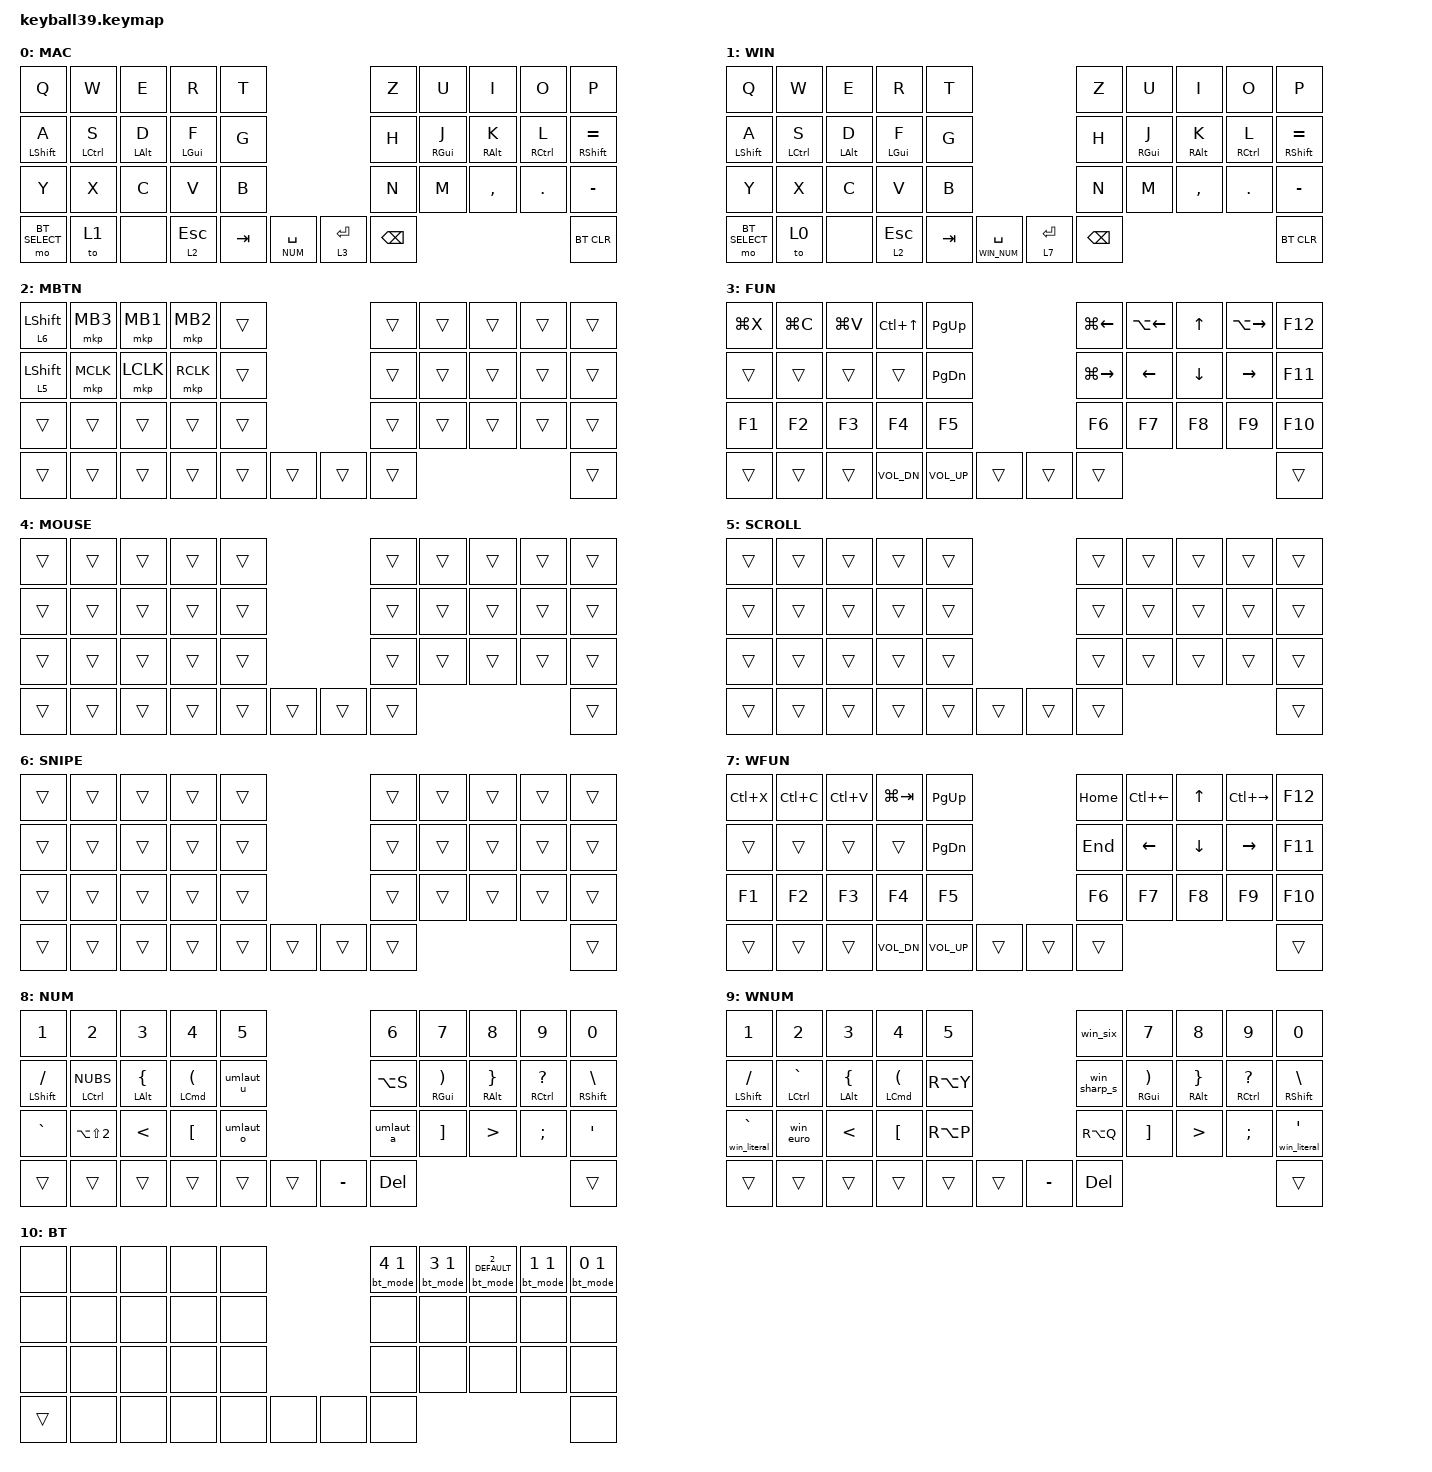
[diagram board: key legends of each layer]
#define DEFAULT 0
#define NUM     8
#define WIN_NUM 9
#define BT_SELECT 10
#define FUN     3
#define MOUSE   4
#define SCROLL  5
#define SNIPE   6

#include <behaviors/mouse_keys.dtsi>
#include <dt-bindings/zmk/mouse.h>
#include <behaviors.dtsi>
#include <dt-bindings/zmk/bt.h>
#include <dt-bindings/zmk/keys.h>
#include <dt-bindings/zmk/pointing.h>

&lt {
    tapping-term-ms = <240>;
    flavor = "balanced";
    quick-tap-ms = <150>;
};

&mt {
    tapping-term-ms = <200>;
    flavor = "tap-preferred";
    quick-tap-ms = <150>;
};

&caps_word { continue-list = <UNDERSCORE MINUS>; };

/ {
    // custom shift using mod-morph 

    behaviors {
        // Shift+6 is a dead key on Windows US International. Complete it with Space.
        win_six: win_six {
            compatible = "zmk,behavior-mod-morph";
            #binding-cells = <0>;
            bindings = <&kp NUMBER_6>, <&win_literal CARET>;
            mods = <(MOD_LSFT|MOD_RSFT)>;
        };

        // Match macOS Option+S (ß) and Option+Shift+S (Í).
        win_sharp_s: win_sharp_s {
            compatible = "zmk,behavior-mod-morph";
            #binding-cells = <0>;
            bindings = <&kp RA(S)>, <&kp RA(LS(I))>;
            mods = <(MOD_LSFT|MOD_RSFT)>;
        };

        // macOS Option+Shift+2 always emits €, including with a held Shift.
        win_euro: win_euro {
            compatible = "zmk,behavior-mod-morph";
            #binding-cells = <0>;
            bindings = <&kp RA(NUMBER_5)>, <&kp RA(NUMBER_5)>;
            mods = <(MOD_LSFT|MOD_RSFT)>;
        };

        // Preserve the existing home-row Ctrl hold while tapping a literal dead key.
        win_literal_mt: win_literal_mt {
            compatible = "zmk,behavior-hold-tap";
            #binding-cells = <2>;
            tapping-term-ms = <200>;
            flavor = "tap-preferred";
            quick-tap-ms = <150>;
            bindings = <&kp>, <&win_literal>;
        };

        // Mask either home-row Shift only while sending the macOS umlaut dead key.
        // Both branches send Option+U; the shifted branch suppresses Shift.
        umlaut_deadkey: umlaut_deadkey {
            compatible = "zmk,behavior-mod-morph";
            #binding-cells = <0>;
            bindings = <&kp LA(U)>, <&kp LA(U)>;
            mods = <(MOD_LSFT|MOD_RSFT)>;
        };

        cmqus: comma_question {
            compatible = "zmk,behavior-mod-morph";
            label = "COMMA_QUESTION";
            #binding-cells = <0>;
            bindings = <&kp COMMA>, <&kp QUESTION>;

            mods = <(MOD_LSFT|MOD_RSFT)>;
        };

        dtsmi: dot_semi {
            compatible = "zmk,behavior-mod-morph";
            label = "DOT_SEMI";
            #binding-cells = <0>;
            bindings = <&kp DOT>, <&kp SEMI>;

            mods = <(MOD_LSFT|MOD_RSFT)>;
        };
    };

    macros {
        // Parameters: zero-based Bluetooth profile, then base mode layer.
        bt_mode: bt_mode {
            compatible = "zmk,behavior-macro-two-param";
            #binding-cells = <2>;
            wait-ms = <0>;
            tap-ms = <0>;
            bindings = <&macro_press>,
                       <&macro_param_1to2>, <&bt BT_SEL MACRO_PLACEHOLDER>,
                       <&macro_param_2to1>, <&to MACRO_PLACEHOLDER>,
                       // &to clears other layers; keep this menu until its key is released.
                       <&mo BT_SELECT>;
        };

        // US International: a dead key followed by Space emits just the character.
        // Retain a held Shift so GRAVE becomes ~ and SQT becomes a double quote.
        win_literal: win_literal {
            compatible = "zmk,behavior-macro-one-param";
            #binding-cells = <1>;
            wait-ms = <40>;
            tap-ms = <40>;
            bindings = <&macro_param_1to1>, <&kp MACRO_PLACEHOLDER>, <&kp SPACE>;
        };

        Hiragana: Hiragana {
            compatible = "zmk,behavior-macro";
            #binding-cells = <0>;
            bindings = <&kp LC(SPACE)>;
            label = "HIRAGANA";
        };

        umlaut_u: umlaut_u {
            compatible = "zmk,behavior-macro";
            #binding-cells = <0>;
            bindings = <&umlaut_deadkey &kp U>;
            label = "UMLAUT_U";
        };

        umlaut_o: umlaut_o {
            compatible = "zmk,behavior-macro";
            #binding-cells = <0>;
            bindings = <&umlaut_deadkey &kp O>;
            label = "UMLAUT_O";
        };

        umlaut_a: umlaut_a {
            compatible = "zmk,behavior-macro";
            #binding-cells = <0>;
            bindings = <&umlaut_deadkey &kp A>;
            label = "UMLAUT_A";
        };
    };

    keymap {
        compatible = "zmk,keymap";

        default_layer {
            label = "MAC";
            bindings = <
&kp Q        &kp W        &kp E       &kp R         &kp T                              &kp Z          &kp U       &kp I       &kp O        &kp P
&mt LSHFT A  &mt LCTRL S  &mt LALT D  &mt LGUI F    &kp G                              &kp H          &mt RGUI J  &mt RALT K  &mt RCTRL L  &mt RSHFT EQUAL
&kp Y        &kp X        &kp C       &kp V         &kp B                              &kp N          &kp M       &kp COMMA   &kp DOT      &kp MINUS
&mo BT_SELECT &to 1        &none       &lt 2 ESCAPE  &kp TAB  &lt NUM SPACE  &lt 3 ENTER  &kp BACKSPACE                                       &bt BT_CLR
            >;
        };

        win_default {
            label = "WIN";
            bindings = <
&kp Q        &kp W        &kp E       &kp R         &kp T                              &kp Z          &kp U       &kp I       &kp O        &kp P
&mt LSHFT A  &mt LCTRL S  &mt LALT D  &mt LGUI F    &kp G                              &kp H          &mt RGUI J  &mt RALT K  &mt RCTRL L  &mt RSHFT EQUAL
&kp Y        &kp X        &kp C       &kp V         &kp B                              &kp N          &kp M       &kp COMMA   &kp DOT      &kp MINUS
&mo BT_SELECT &to 0        &none       &lt 2 ESCAPE  &kp TAB  &lt WIN_NUM SPACE  &lt 7 ENTER  &kp BACKSPACE                                       &bt BT_CLR
            >;
        };

        MouseButtons {
            label = "MBTN";
            bindings = <
&lt 6 LSHIFT  &mkp MB3   &mkp MB1   &mkp MB2   &trans                  &trans  &trans  &trans  &trans  &trans
&lt 5 LSHIFT  &mkp MCLK  &mkp LCLK  &mkp RCLK  &trans                  &trans  &trans  &trans  &trans  &trans
&trans        &trans     &trans     &trans     &trans                  &trans  &trans  &trans  &trans  &trans
&trans        &trans     &trans     &trans     &trans  &trans  &trans  &trans                          &trans
            >;
        };

        function_layer {
            label = "FUN";
            bindings = <
&kp LG(X)  &kp LG(C)  &kp LG(V)  &kp LC(UP_ARROW)  &kp PAGE_UP                      &kp LG(LEFT)   &kp LA(LEFT)  &kp UP    &kp LA(RIGHT)  &kp F12
&trans     &trans     &trans     &trans            &kp PAGE_DOWN                    &kp LG(RIGHT)  &kp LEFT      &kp DOWN  &kp RIGHT      &kp F11
&kp F1     &kp F2     &kp F3     &kp F4            &kp F5                           &kp F6         &kp F7        &kp F8    &kp F9         &kp F10
&trans     &trans     &trans     &kp C_VOL_DN      &kp C_VOLUME_UP  &trans  &trans  &trans                                                &trans
            >;
        };

        mouse_layer {
            label = "MOUSE";
            bindings = <
&trans  &trans  &trans  &trans  &trans                  &trans  &trans  &trans  &trans  &trans
&trans  &trans  &trans  &trans  &trans                  &trans  &trans  &trans  &trans  &trans
&trans  &trans  &trans  &trans  &trans                  &trans  &trans  &trans  &trans  &trans
&trans  &trans  &trans  &trans  &trans  &trans  &trans  &trans                          &trans
            >;
        };

        scroll_layer {
            label = "SCROLL";
            bindings = <
&trans  &trans  &trans  &trans  &trans                  &trans  &trans  &trans  &trans  &trans
&trans  &trans  &trans  &trans  &trans                  &trans  &trans  &trans  &trans  &trans
&trans  &trans  &trans  &trans  &trans                  &trans  &trans  &trans  &trans  &trans
&trans  &trans  &trans  &trans  &trans  &trans  &trans  &trans                          &trans
            >;
        };

        snipe_layer {
            label = "SNIPE";
            bindings = <
&trans  &trans  &trans  &trans  &trans                  &trans  &trans  &trans  &trans  &trans
&trans  &trans  &trans  &trans  &trans                  &trans  &trans  &trans  &trans  &trans
&trans  &trans  &trans  &trans  &trans                  &trans  &trans  &trans  &trans  &trans
&trans  &trans  &trans  &trans  &trans  &trans  &trans  &trans                          &trans
            >;
        };

        win_func {
            label = "WFUN";
            bindings = <
&kp LC(X)  &kp LC(C)  &kp LC(V)  &kp LG(TAB)   &kp PAGE_UP                      &kp HOME  &kp LC(LEFT)  &kp UP    &kp LC(RIGHT)  &kp F12
&trans     &trans     &trans     &trans        &kp PAGE_DOWN                    &kp END   &kp LEFT      &kp DOWN  &kp RIGHT      &kp F11
&kp F1     &kp F2     &kp F3     &kp F4        &kp F5                           &kp F6    &kp F7        &kp F8    &kp F9         &kp F10
&trans     &trans     &trans     &kp C_VOL_DN  &kp C_VOLUME_UP  &trans  &trans  &trans                                           &trans
            >;
        };

        number_layer {
            label = "NUM";
            bindings = <
&kp NUMBER_1     &kp NUMBER_2          &kp NUMBER_3         &kp NUMBER_4                       &kp NUMBER_5                     &kp NUMBER_6  &kp NUMBER_7                &kp NUMBER_8          &kp NUMBER_9        &kp NUMBER_0
&mt LSHFT SLASH  &mt LCTRL NUBS        &mt LALT LEFT_BRACE  &mt LEFT_COMMAND LEFT_PARENTHESIS  &umlaut_u                        &kp LA(S)     &mt RGUI RIGHT_PARENTHESIS  &mt RALT RIGHT_BRACE  &mt RCTRL QUESTION  &mt RSHFT BACKSLASH
&kp GRAVE        &kp LA(LS(NUMBER_2))  &kp LESS_THAN        &kp LEFT_BRACKET                   &umlaut_o                        &umlaut_a     &kp RIGHT_BRACKET           &kp GREATER_THAN      &kp SEMI            &kp SQT
&trans           &trans                &trans               &trans                             &trans        &trans  &kp MINUS  &kp DELETE                                                                          &trans
            >;
        };

        // Windows host input source: English (United States), US International.
        // Match NUM's text and Shift output with the same physical positions.
        win_number_layer {
            label = "WNUM";
            bindings = <
&kp NUMBER_1     &kp NUMBER_2                 &kp NUMBER_3         &kp NUMBER_4                       &kp NUMBER_5                     &win_six     &kp NUMBER_7                &kp NUMBER_8          &kp NUMBER_9        &kp NUMBER_0
&mt LSHFT SLASH  &win_literal_mt LCTRL GRAVE  &mt LALT LEFT_BRACE  &mt LEFT_COMMAND LEFT_PARENTHESIS  &kp RA(Y)                        &win_sharp_s &mt RGUI RIGHT_PARENTHESIS  &mt RALT RIGHT_BRACE  &mt RCTRL QUESTION  &mt RSHFT BACKSLASH
&win_literal GRAVE &win_euro                 &kp LESS_THAN        &kp LEFT_BRACKET                   &kp RA(P)                        &kp RA(Q)    &kp RIGHT_BRACKET           &kp GREATER_THAN      &kp SEMI            &win_literal SQT
&trans           &trans                       &trans               &trans                             &trans        &trans  &kp MINUS  &kp DELETE                                                                          &trans
            >;
        };

        // Hold the former BT_NXT key and select by the base-layer letter position.
        bluetooth_selection {
            label = "BT";
            bindings = <
&none  &none  &none  &none  &none                  &bt_mode 4 1  &bt_mode 3 1  &bt_mode 2 DEFAULT  &bt_mode 1 1  &bt_mode 0 1
&none  &none  &none  &none  &none                  &none         &none         &none               &none         &none
&none  &none  &none  &none  &none                  &none         &none         &none               &none         &none
&trans &none  &none  &none  &none  &none  &none  &none                                                           &none
            >;
        };
    };
};
